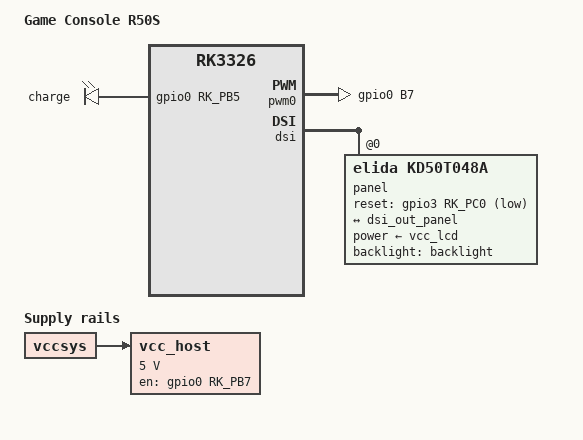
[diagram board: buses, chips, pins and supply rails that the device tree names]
// SPDX-License-Identifier: (GPL-2.0+ OR MIT)
/*
 * Copyright (c) 2020 Hardkernel Co., Ltd
 *
 * R50S: the R36S board with its own screen, battery and stick wiring. Everything
 * else (CPU, power, USB, fixes) comes from rk3326-r36s-android.dtsi.
 */

/dts-v1/;
#include "rk3326-r36s-android.dtsi"

/ {
	model = "Game Console R50S";

	backlight: backlight {
		pwms = <&pwm1 0 40000 0>;
		brightness-levels = <
			  0   1   2   3   4   5   6   7
			  8   9  10  11  12  13  14  15
			 16  17  18  19  20  21  22  23
			 24  25  26  27  28  29  30  31
			 32  33  34  35  36  37  38  39
			 40  41  42  43  44  45  46  47
			 48  49  50  51  52  53  54  55
			 56  57  58  59  60  61  62  63
			 64  65  66  67  68  69  70  71
			 72  73  74  75  76  77  78  79
			 80  81  82  83  84  85  86  87
			 88  89  90  91  92  93  94  95
			 96  97  98  99 100>;
		default-brightness-level = <50>;
	};

	vcc_host: vcc_host {
		compatible = "regulator-fixed";
		regulator-name = "vcc_host";
		regulator-min-microvolt = <5000000>;
		regulator-max-microvolt = <5000000>;

		gpio = <&gpio0 RK_PB7 GPIO_ACTIVE_HIGH>;
		enable-active-high;
		regulator-always-on;
		vin-supply = <&vccsys>;
	};
};

&leds {
	/* Charge LED: no driver reads the old chg_led_gpio property */
	charge {
		label = "charge";
		gpios = <&gpio0 RK_PB5 GPIO_ACTIVE_HIGH>;
		linux,default-trigger = "battery-charging";
	};
};

/*
 * GPIO0_B7 switches the 5 V of the USB host port (vcc_host above). On the
 * R36S the same pin is the rumble PWM, whose pinctrl would take the pin
 * away from the regulator, so keep the PWM block off the pin.
 */
&pwm0 {
	pinctrl-0 = <&vcc_host_en>;
};

&pinctrl {
	usb {
		vcc_host_en: vcc-host-en {
			rockchip,pins = <0 RK_PB7 RK_FUNC_GPIO &pcfg_pull_none>;
		};
	};
};

&joypad {
	/*
	 * No rumble motor, so the gamepad doesn't offer rumble. pwms stays: the
	 * older joypad driver in the resizer and recovery kernels oopses when
	 * it is missing.
	 */
	andr36oid,no-rumble;
	switch-rxy;
	invert-absry;

	/*
	 * The R50S has one button more than the R36S, F6 on GPIO2_A5 (it's in
	 * the ArkOS R50S device tree). It comes as extra button 1
	 * (BTN_TRIGGER_HAPPY1); Settings > Controls > Button mapping can give it
	 * a job. The pin already has its pull-up in btn_pins.
	 */
	sw14 {
		gpios = <&gpio2 RK_PA5 GPIO_ACTIVE_LOW>;
		label = "GPIO F6";
		linux,code = <704>; /* BTN_TRIGGER_HAPPY1 */
	};
};

&dsi {
	/delete-node/ panel@0;

		panel@0 {
			compatible = "elida,kd50t048a", "simple-panel-dsi";
			reg = <0>;

			/* pwm1 backlight */
			backlight = <&backlight>;

			/* LCD reset gpio GPIO3.C0 */
			reset-gpios = <&gpio3 RK_PC0 GPIO_ACTIVE_LOW>;

			/* RK817 LDO8 */
			power-supply = <&vcc_lcd>;


			prepare-delay-ms = <2>;
			reset-delay-ms = <20>;
			init-delay-ms = <10>;
			enable-delay-ms = <50>;
			disable-delay-ms = <10>;
			unprepare-delay-ms = <10>;

			/* LCD size */
			width-mm = <69>;
			height-mm = <139>;


			dsi,flags = <(MIPI_DSI_MODE_VIDEO           |
				      MIPI_DSI_MODE_VIDEO_BURST     |
				      MIPI_DSI_MODE_EOT_PACKET)>;

			dsi,format = <MIPI_DSI_FMT_RGB888>;
			dsi,lanes = <2>;

			/*
				- panel-init-sequence data description -
				  mipi_cmd, delay(ms), len, lcd_cmd, lcd_data...

				- mipi_cmd description -
				  05 : MIPI_DSI_SHORT_WRITE
				  15 : MIPI_DSI_SHORT_WRITE_PARAM
				  39 : MIPI_DSI_LONG_WRITE

				- ST7710S (Initialize sequence) -
				  01: Soft reset
				  11: Sleep out & 250ms wait
				  FF: Bank select CMD
				  C0: CMD2 Bank0 LNESET
				  C1: CMD2 Bank0 PORCTRL
				  C2: CMD2 Bank0 INVSEL
				  CC: ???
				  B0: CMD2 Bank0 PVGAMCTRL
				  B1: CMD2 Bank0 NVGAMCTRL
				  B0: CMD2 Bank1 VRHS
				  B1: CMD2 Bank1 VCOMS
				  B2: CMD2 Bank1 VGHSS
				  B3: CMD2 Bank1 TESTCMD
				  B5: CMD2 Bank1 VGLS
				  B7: CMD2 Bank1 PWRCTRL1
				  B8: CMD2 Bank1 PWRCTRL2
				  B9: CMD2 Bank1 PWRCTRL3
				  C1: CMD2 Bank1 PDR1
				  C2: CMD2 Bank1 PDR2
				  D0: CMD2 Bank1 MIPISET1
				  E0 ~ EF : GIP Setting
				  3A: Normal CMD COLMOD
				  53: Normal CMD WRCTRLD
				  55: Normal CMD WRCABC
				  5E: Normal CMD WRCABCMB
				  29: DisplayOn & 50ms wait
			*/
			panel-init-sequence = [
				05 05 01 01 
				05 fa 01 11 
				39 00 06 ff 77 01 00 00 10 
				15 00 03 c0 e9 03
				15 00 03 c1 11 02 
				15 00 03 c2 31 08 
				15 00 02 cc 10 
				39 00 11 b0 00 0d 14 0d 10 05 02 08 08 1e 05 13 11 a3 29 18 
				39 00 11 b1 00 0c 14 0c 10 05 03 08 07 20 05 13 11 a4 29 18 
				39 00 06 ff 77 01 00 00 11 
				15 00 02 b0 6c 
				15 00 02 b1 43 
				15 00 02 b2 07 
				15 00 02 b3 80 
				15 00 02 b5 47 
				15 00 02 b7 85 
				15 00 02 b8 20 
				15 00 02 b9 10 
				15 00 02 c1 78 
				15 00 02 c3 78 
				15 fa 02 d0 88 
				39 00 04 e0 00 00 02 
				39 00 0c e1 08 00 0a 00 07 00 09 00 00 33 33 
				39 00 0f e2 00 00 00 00 00 00 00 00 00 00 00 00 00 00 
				39 00 05 e3 00 00 33 33 
				15 00 03 e4 44 44 
				39 00 11 e5 0e 60 a0 a0 10 60 a0 a0 0a 60 a0 a0 0c 60 a0 a0 
				39 00 05 e6 00 00 33 33 
				15 00 03 e7 44 44 
				39 00 11 e8 0d 60 a0 a0 0f 60 a0 a0 09 60 a0 a0 0b 60 a0 a0 
				39 00 08 eb 02 01 e4 e4 44 00 40 15 00 03 ec 02 01 
				39 00 11 ed ab 89 76 54 01 ff ff ff ff ff ff 10 45 67 98 ba 
				39 00 06 ff 77 01 00 00 00 
				15 00 02 3a 70 
				15 00 02 53 ec 
				15 00 02 55 b3 
				15 00 02 5e ff 
				05 32 01 29
			];

			/* 28: DisplayOff */
			/* 10: SleepIn */
			panel-exit-sequence = [
				05 14 01 28
				05 0A 01 10
			];

			display-timings {
				native-mode = <&timing0>;

				timing0: timing0 {
					clock-frequency = <27500000>;
					hactive = <480>;
					vactive = <854>;
					hfront-porch = <2>;
					hsync-len = <10>;
					hback-porch = <2>;
					vfront-porch = <12>;
					vsync-len = <2>;
					vback-porch = <60>;
					hsync-active = <0>;
					vsync-active = <0>;
					de-active = <0>;
					pixelclk-active = <0>;
				};
			};		

			ports {
				#address-cells = <1>;
				#size-cells = <0>;

				port@0 {
					reg = <0>;
					dsi_in_panel: endpoint {
						remote-endpoint = <&dsi_out_panel>;
					};
				};
			};
		};
};

&rk817 {
	battery {
		design_capacity = <4000>;
		design_qmax = <4020>;
	};

	charger {
		/delete-property/ bat_low_gpio;
		chrg_finish_cur = <300>;
	};
};

&rk817_codec {
	mic-in-differential;
};

/* One card slot only */
&sdio {
	status = "disabled";
};

&io_domains {
	vccio1-supply = <&vcc_3v3>;
};
